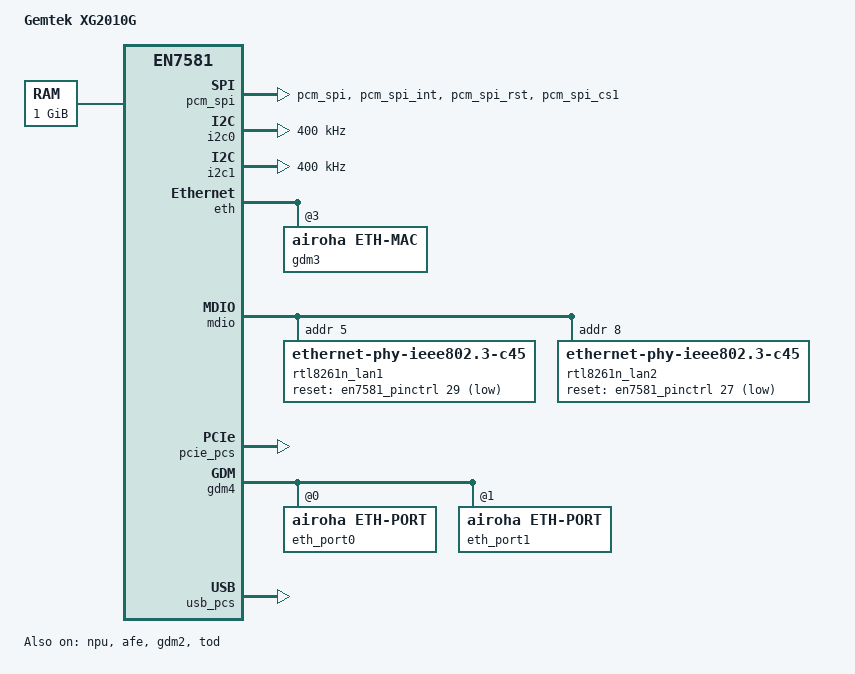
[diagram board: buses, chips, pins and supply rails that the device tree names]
// SPDX-License-Identifier: GPL-2.0-only OR MIT

#include "an7581-nokia_xg-040g-md-common.dtsi"

/ {
	model = "Gemtek XG2010G";
	compatible = "gemtek,xg2010g-ubi", "airoha,an7581", "airoha,en7581";

	memory@80000000 {
		reg = <0x0 0x80000000 0x0 0x40000000>;
	};

	chosen {
		rootdisk = <&ubi_fit>;
		bootargs = "console=ttyS0,115200 earlycon ubi.block=0,fit root=/dev/fit0 rootwait rdinit=/sbin/init";
	};

	scu@1fb00000 {
		compatible = "econet,ecnt-scu";
		reg = <0x0 0x1fb00000 0x0 0x960>,
		      <0x0 0x1fa20000 0x0 0x360>,
		      <0x0 0x1fa2ff30 0x0 0x10>;
		interrupts = <GIC_SPI 47 IRQ_TYPE_LEVEL_HIGH>;
	};

	xpon@1fb64000 {
		compatible = "econet,ecnt-xpon";
		reg = <0x0 0x1fb64000 0x0 0x3e8>,
		      <0x0 0x1fb66000 0x0 0x23c>,
		      <0x0 0x1fb65000 0x0 0xff8>;
		interrupts = <GIC_SPI 42 IRQ_TYPE_LEVEL_HIGH>,
			     <GIC_SPI 34 IRQ_TYPE_LEVEL_HIGH>;
	};

	pon_phy@1faf0000 {
		compatible = "econet,ecnt-pon_phy";
		reg = <0x0 0x1faf0000 0x0 0x1fff>,
		      <0x0 0x1fa2ff24 0x0 0x4>,
		      <0x0 0x1faf3000 0x0 0xfff>,
		      <0x0 0x1faf4000 0x0 0xfff>;
	};

	tod: tod@1fbe2300 {
		compatible = "econet,ecnt-tod";
		reg = <0x0 0x1fbe2300 0x0 0xd0>;
		interrupts = <GIC_SPI 78 IRQ_TYPE_LEVEL_HIGH>;
		status = "okay";
	};

	pcm_spi: pcm-spi@1fbc0000 {
		compatible = "airoha,en7581-pcm-spi-si32192";
		reg = <0x0 0x1fbc0000 0x0 0x30>,
		      <0x0 0x1fbd0000 0x0 0x5000>;
		reg-names = "spi", "pcm";
		airoha,chip-scu = <&chip_scu>;
		airoha,np-scu = <&scuclk>;
		pinctrl-names = "default";
		pinctrl-0 = <&pcm_spi_pins>;
		status = "okay";
	};
};

&en7581_pinctrl {
	pcm_spi_pins: pcm-spi-pins {
		mux {
			function = "pcm_spi";
			groups = "pcm_spi", "pcm_spi_int", "pcm_spi_rst",
				 "pcm_spi_cs1";
		};
	};
};

&i2c0 {
	compatible = "airoha,airoha-i2c";
	clock-frequency = <400000>;
	status = "okay";
};

&i2c1 {
	compatible = "airoha,airoha-i2c";
	clock-frequency = <400000>;
	status = "okay";
};

&spi_nand {
	partitions {
		compatible = "fixed-partitions";
		#address-cells = <1>;
		#size-cells = <1>;

		bootloader@0 {
			label = "bootloader";
			reg = <0x00000000 0x00200000>;
			read-only;
		};

		uenv@200000 {
			label = "uenv";
			reg = <0x00200000 0x00200000>;
			read-only;
		};

		dsd@400000 {
			label = "dsd";
			reg = <0x00400000 0x00200000>;
			read-only;
		};

		ubi@600000 {
			label = "ubi";
			reg = <0x00600000 0x1b800000>;
			compatible = "linux,ubi";

			volumes {
				ubi-volume-bosa {
					volname = "bosa";
				};

				ubi-volume-factory {
					volname = "ri";

					nvmem-layout {
						compatible = "fixed-layout";
						#address-cells = <1>;
						#size-cells = <1>;

						macaddr_factory_3e: macaddr@3e {
							compatible = "mac-base";
							reg = <0x3e 0x6>;
							#nvmem-cell-cells = <1>;
						};
					};
				};

				ubi_fit: ubi-volume-fit {
					volname = "fit";
				};

				ubi-volume-fip {
					volname = "fip";
				};
			};
		};

		reserved-bmt@1be00000 {
			label = "reserved_bmt";
			reg = <0x1be00000 0x04200000>;
			read-only;
		};
	};
};

&pcie0 { status = "disabled"; };
&pcie1 { status = "disabled"; };
&pcie2 { status = "disabled"; };
&usb0 { status = "disabled"; };
&usb1 { status = "disabled"; };
&mmc0 { status = "disabled"; };

/* XG2010G stock firmware also starts the generic EN7581 NPU. */
&npu { status = "okay"; };

/* Stock firmware brings up the EN7581 AFE/PCM audio block before the ProSLIC.
 * Keep the I2S/ETDM DAI available for the XG2010G voice stack while the
 * Si32192 control path stays owned by the PCM-SPI driver above.
 */
&afe { status = "okay"; };

/* Let the mainline Ethernet owner expose the legacy PON register ABI. */
&eth {
	airoha,pon-compat;
};

/* Route CPUfreq through the SoC SCU when BL31's AVS SMC is unavailable:
 * the pmdomain driver only falls back to direct PLL programming when the
 * cpufreq node carries reg/reg-names (otherwise it bails with "ATF SMC not
 * available and no chip-scu reg in DT"). Mirrors the XR1710G and is a no-op
 * whenever airoha_cpu_smc_available() succeeds. */
&cpufreq {
	reg = <0x0 0x1FA20000 0x0 0x2C0
	       0x0 0x1EFBE000 0x0 0x800>;
	reg-names = "chip-scu", "mcucfg";
};

&mdio {
	rtl8261n_lan1: ethernet-phy@5 {
		compatible = "ethernet-phy-ieee802.3-c45";
		reg = <5>;

		reset-gpios = <&en7581_pinctrl 29 GPIO_ACTIVE_LOW>;
		reset-assert-us = <200000>;
		reset-deassert-us = <200000>;
		reset-before-id-read;

		realtek,sds-mode = <0x88c6>;
		realtek,patch-rtk-serdes;
	};

	rtl8261n_lan2: ethernet-phy@8 {
		compatible = "ethernet-phy-ieee802.3-c45";
		reg = <8>;

		reset-gpios = <&en7581_pinctrl 27 GPIO_ACTIVE_LOW>;
		reset-assert-us = <200000>;
		reset-deassert-us = <200000>;
		reset-before-id-read;

		realtek,sds-mode = <0x88c6>;
		realtek,patch-rtk-serdes;
	};
};

&gdm2 {
	status = "okay";

	phy-mode = "usxgmii";
	managed = "in-band-status";

	openwrt,netdev-name = "pon";
};

&pcie_pcs {
	status = "okay";
};

&gdm4 {
	#address-cells = <1>;
	#size-cells = <0>;

	eth_port0: eth-port@0 {
		compatible = "airoha,eth-port";
		reg = <0>;

		pcs-handle = <&eth_pcs>;

		phy-handle = <&rtl8261n_lan1>;
		phy-mode = "usxgmii";
		managed = "in-band-status";

		openwrt,netdev-name = "lan1";

		nvmem-cell-names = "mac-address";
		nvmem-cells = <&macaddr_factory_3e (0)>;

		status = "okay";
	};

	eth_port1: eth-port@1 {
		compatible = "airoha,eth-port";
		reg = <1>;

		pcs-handle = <&usb_pcs>;

		phy-handle = <&en8811>;
		phy-mode = "2500base-x";

		openwrt,netdev-name = "lan3";

		status = "okay";
	};
};

&usb_pcs {
	status = "okay";
};

&eth {
	gdm3: ethernet@3 {
		compatible = "airoha,eth-mac";
		reg = <3>;

		pcs-handle = <&pcie_pcs 1>;

		phy-handle = <&rtl8261n_lan2>;
		phy-mode = "usxgmii";
		managed = "in-band-status";

		openwrt,netdev-name = "lan2";

		status = "okay";
	};
};

&gsw_port2 {
	status = "disabled";
};

&gsw_port3 {
	status = "disabled";
};
